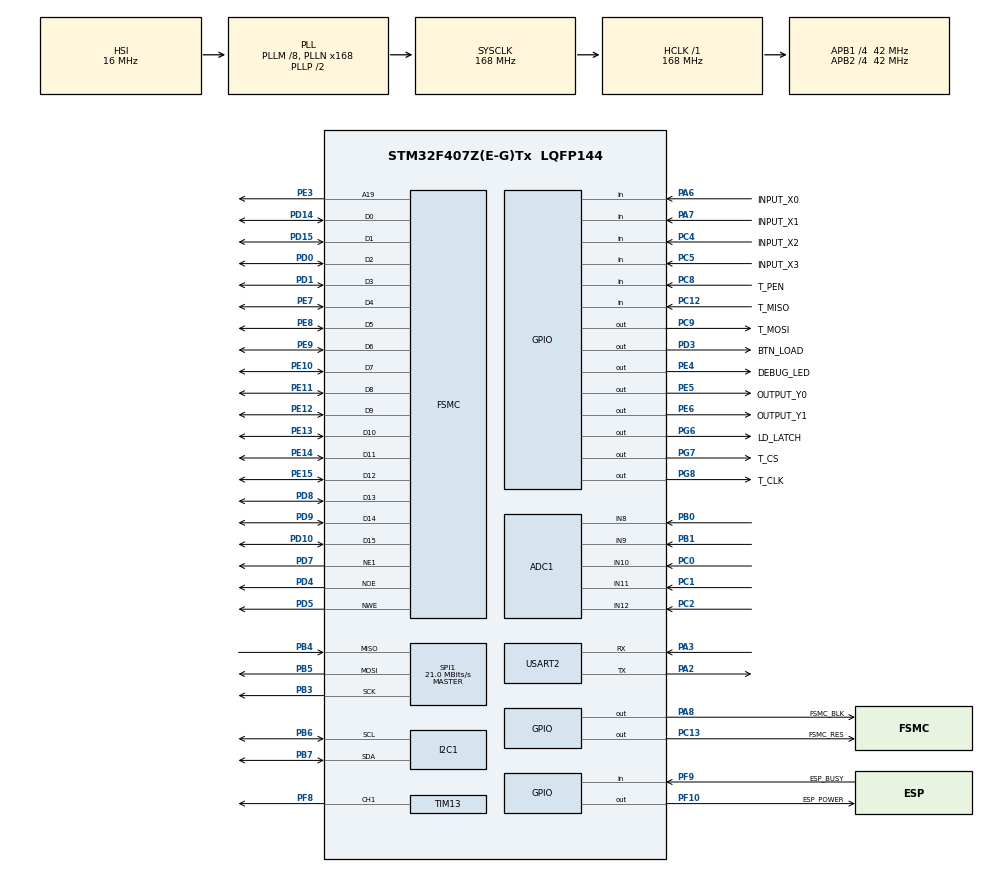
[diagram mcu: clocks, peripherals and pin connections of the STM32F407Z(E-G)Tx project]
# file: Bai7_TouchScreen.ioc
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ADC1.Channel-0\#ChannelRegularConversion=ADC_CHANNEL_8
ADC1.Channel-1\#ChannelRegularConversion=ADC_CHANNEL_9
ADC1.Channel-2\#ChannelRegularConversion=ADC_CHANNEL_10
ADC1.Channel-3\#ChannelRegularConversion=ADC_CHANNEL_11
ADC1.Channel-4\#ChannelRegularConversion=ADC_CHANNEL_12
ADC1.NbrOfConversion=5
ADC1.NbrOfConversionFlag=1
ADC1.Rank-0\#ChannelRegularConversion=1
ADC1.Rank-1\#ChannelRegularConversion=2
ADC1.Rank-2\#ChannelRegularConversion=3
ADC1.Rank-3\#ChannelRegularConversion=4
ADC1.Rank-4\#ChannelRegularConversion=5
ADC1.SamplingTime-0\#ChannelRegularConversion=ADC_SAMPLETIME_3CYCLES
ADC1.SamplingTime-1\#ChannelRegularConversion=ADC_SAMPLETIME_3CYCLES
ADC1.SamplingTime-2\#ChannelRegularConversion=ADC_SAMPLETIME_3CYCLES
ADC1.SamplingTime-3\#ChannelRegularConversion=ADC_SAMPLETIME_3CYCLES
ADC1.SamplingTime-4\#ChannelRegularConversion=ADC_SAMPLETIME_3CYCLES
ADC1.ScanConvMode=ENABLE
ADC1.master=1
Dma.ADC1.0.Direction=DMA_PERIPH_TO_MEMORY
Dma.ADC1.0.FIFOMode=DMA_FIFOMODE_DISABLE
Dma.ADC1.0.Instance=DMA2_Stream0
Dma.ADC1.0.MemDataAlignment=DMA_MDATAALIGN_HALFWORD
Dma.ADC1.0.MemInc=DMA_MINC_ENABLE
Dma.ADC1.0.Mode=DMA_CIRCULAR
Dma.ADC1.0.PeriphDataAlignment=DMA_PDATAALIGN_HALFWORD
Dma.ADC1.0.PeriphInc=DMA_PINC_DISABLE
Dma.ADC1.0.Priority=DMA_PRIORITY_LOW
Dma.Request0=ADC1
FSMC.AddressSetupTime1=0xf
FSMC.BusTurnAroundDuration1=0
FSMC.DataSetupTime1=60
FSMC.ExtendedAddressSetupTime1=8
FSMC.ExtendedBusTurnAroundDuration1=0
FSMC.ExtendedDataSetupTime1=9
FSMC.ExtendedMode1=FSMC_EXTENDED_MODE_ENABLE
I2C1.I2C_Mode=I2C_Standard
Mcu.Family=STM32F4
Mcu.Name=STM32F407Z(E-G)Tx
Mcu.Package=LQFP144
NVIC.DMA2_Stream0_IRQn=true\:0\:0\:false\:false\:true\:false\:true\:true
NVIC.PriorityGroup=NVIC_PRIORITYGROUP_4
NVIC.TIM2_IRQn=true\:0\:0\:false\:false\:true\:true\:true\:true
NVIC.USART2_IRQn=true\:0\:0\:false\:false\:true\:true\:true\:true
PA13.Mode=Serial_Wire
PA13.Signal=SYS_JTMS-SWDIO
PA14.Mode=Serial_Wire
PA14.Signal=SYS_JTCK-SWCLK
PA2.Mode=Asynchronous
PA2.Signal=USART2_TX
PA3.Mode=Asynchronous
PA3.Signal=USART2_RX
PA6.GPIO_Label=INPUT_X0
PA6.Signal=GPIO_Input
PA7.GPIO_Label=INPUT_X1
PA7.Signal=GPIO_Input
PA8.GPIO_Label=FSMC_BLK
PA8.Signal=GPIO_Output
PB0.Signal=ADCx_IN8
PB1.Signal=ADCx_IN9
PB3.Mode=Full_Duplex_Master
PB3.Signal=SPI1_SCK
PB4.Mode=Full_Duplex_Master
PB4.Signal=SPI1_MISO
PB5.Mode=Full_Duplex_Master
PB5.Signal=SPI1_MOSI
PB6.Mode=I2C
PB6.Signal=I2C1_SCL
PB7.Mode=I2C
PB7.Signal=I2C1_SDA
PC0.Signal=ADCx_IN10
PC1.Signal=ADCx_IN11
PC12.GPIO_Label=T_MISO
PC12.GPIO_PuPd=GPIO_PULLUP
PC12.Signal=GPIO_Input
PC13-ANTI_TAMP.GPIO_Label=FSMC_RES
PC13-ANTI_TAMP.Signal=GPIO_Output
PC2.Signal=ADCx_IN12
PC4.GPIO_Label=INPUT_X2
PC4.Signal=GPIO_Input
PC5.GPIO_Label=INPUT_X3
PC5.Signal=GPIO_Input
PC8.GPIO_Label=T_PEN
PC8.GPIO_PuPd=GPIO_PULLUP
PC8.Signal=GPIO_Input
PC9.GPIO_Label=T_MOSI
PC9.Signal=GPIO_Output
PD0.Signal=FSMC_D2_DA2
PD1.Signal=FSMC_D3_DA3
PD10.Signal=FSMC_D15_DA15
PD14.Signal=FSMC_D0_DA0
PD15.Signal=FSMC_D1_DA1
PD3.GPIO_Label=BTN_LOAD
PD3.Signal=GPIO_Output
PD4.Signal=FSMC_NOE
PD5.Signal=FSMC_NWE
PD7.Mode=NorPsramChipSelect1_1
PD7.Signal=FSMC_NE1
PD8.Signal=FSMC_D13_DA13
PD9.Signal=FSMC_D14_DA14
PE10.Signal=FSMC_D7_DA7
PE11.Signal=FSMC_D8_DA8
PE12.Signal=FSMC_D9_DA9
PE13.Signal=FSMC_D10_DA10
PE14.Signal=FSMC_D11_DA11
PE15.Signal=FSMC_D12_DA12
PE3.Signal=FSMC_A19
PE4.GPIO_Label=DEBUG_LED
PE4.Signal=GPIO_Output
PE5.GPIO_Label=OUTPUT_Y0
PE5.Signal=GPIO_Output
PE6.GPIO_Label=OUTPUT_Y1
PE6.Signal=GPIO_Output
PE7.Signal=FSMC_D4_DA4
PE8.Signal=FSMC_D5_DA5
PE9.Signal=FSMC_D6_DA6
PF10.GPIO_Label=ESP_POWER
PF10.Signal=GPIO_Output
PF8.Signal=S_TIM13_CH1
PF9.GPIO_Label=ESP_BUSY
PF9.Signal=GPIO_Input
PG6.GPIO_Label=LD_LATCH
PG6.Signal=GPIO_Output
PG7.GPIO_Label=T_CS
PG7.Signal=GPIO_Output
PG8.GPIO_Label=T_CLK
PG8.Signal=GPIO_Output
PH0-OSC_IN.Mode=HSE-External-Oscillator
PH0-OSC_IN.Signal=RCC_OSC_IN
PH1-OSC_OUT.Mode=HSE-External-Oscillator
PH1-OSC_OUT.Signal=RCC_OSC_OUT
ProjectManager.HeapSize=0x200
ProjectManager.StackSize=0x400
ProjectManager.TargetToolchain=STM32CubeIDE
RCC.48MHZClocksFreq_Value=84000000
RCC.AHBFreq_Value=168000000
RCC.APB1CLKDivider=RCC_HCLK_DIV4
RCC.APB1Freq_Value=42000000
RCC.APB1TimFreq_Value=84000000
RCC.APB2CLKDivider=RCC_HCLK_DIV4
RCC.APB2Freq_Value=42000000
RCC.APB2TimFreq_Value=84000000
RCC.CortexFreq_Value=168000000
RCC.HCLKFreq_Value=168000000
RCC.HSE_VALUE=8000000
RCC.HSI_VALUE=16000000
RCC.LSE_VALUE=32768
RCC.PLLM=8
RCC.PLLN=168
RCC.SYSCLKFreq_VALUE=168000000
RCC.SYSCLKSource=RCC_SYSCLKSOURCE_PLLCLK
RCC.VCOOutputFreq_Value=336000000
SH.ADCx_IN10.0=ADC1_IN10,IN10
SH.ADCx_IN11.0=ADC1_IN11,IN11
SH.ADCx_IN12.0=ADC1_IN12,IN12
SH.ADCx_IN8.0=ADC1_IN8,IN8
SH.ADCx_IN9.0=ADC1_IN9,IN9
SH.FSMC_A19.0=FSMC_A19,A19_1
SH.FSMC_D0_DA0.0=FSMC_D0,16b-d1
SH.FSMC_D10_DA10.0=FSMC_D10,16b-d1
SH.FSMC_D11_DA11.0=FSMC_D11,16b-d1
SH.FSMC_D12_DA12.0=FSMC_D12,16b-d1
SH.FSMC_D13_DA13.0=FSMC_D13,16b-d1
SH.FSMC_D14_DA14.0=FSMC_D14,16b-d1
SH.FSMC_D15_DA15.0=FSMC_D15,16b-d1
SH.FSMC_D1_DA1.0=FSMC_D1,16b-d1
SH.FSMC_D2_DA2.0=FSMC_D2,16b-d1
SH.FSMC_D3_DA3.0=FSMC_D3,16b-d1
SH.FSMC_D4_DA4.0=FSMC_D4,16b-d1
SH.FSMC_D5_DA5.0=FSMC_D5,16b-d1
SH.FSMC_D6_DA6.0=FSMC_D6,16b-d1
SH.FSMC_D7_DA7.0=FSMC_D7,16b-d1
SH.FSMC_D8_DA8.0=FSMC_D8,16b-d1
SH.FSMC_D9_DA9.0=FSMC_D9,16b-d1
SH.FSMC_NOE.0=FSMC_NOE,Lcd1
SH.FSMC_NWE.0=FSMC_NWE,Lcd1
SH.S_TIM13_CH1.0=TIM13_CH1,PWM Generation1 CH1
SPI1.BaudRatePrescaler=SPI_BAUDRATEPRESCALER_2
SPI1.CalculateBaudRate=21.0 MBits/s
SPI1.Direction=SPI_DIRECTION_2LINES
SPI1.Mode=SPI_MODE_MASTER
SPI1.VirtualType=VM_MASTER
TIM1.Prescaler=84-1
TIM13.Channel=TIM_CHANNEL_1
TIM13.Period=100-1
TIM13.Prescaler=840-1
TIM2.Period=100-1
TIM2.Prescaler=840-1
USART2.VirtualMode=VM_ASYNC
VP_TIM13_VS_ClockSourceINT.Mode=Enable_Timer
VP_TIM1_VS_ClockSourceINT.Mode=Internal
VP_TIM2_VS_ClockSourceINT.Mode=Internal
board=custom

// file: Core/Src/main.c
/* USER CODE BEGIN Header */
/**
  ******************************************************************************
  * @file           : main.c
  * @brief          : Main program body
  ******************************************************************************
  * @attention
  *
  * <h2><center>&copy; Copyright (c) 2023 STMicroelectronics.
  * All rights reserved.</center></h2>
  *
  * This software component is licensed by ST under BSD 3-Clause license,
  * the "License"; You may not use this file except in compliance with the
  * License. You may obtain a copy of the License at:
  *                        opensource.org/licenses/BSD-3-Clause
  *
  ******************************************************************************
  */
/* USER CODE END Header */
#include "main.h"
#include "adc.h"
#include "dma.h"
#include "i2c.h"
#include "spi.h"
#include "tim.h"
#include "usart.h"
#include "gpio.h"
#include "fsmc.h"

/* USER CODE BEGIN Includes */
#include "software_timer.h"
#include "led_7seg.h"
#include "button.h"
#include "lcd.h"
#include "picture.h"
#include "ds3231.h"
#include "sensor.h"
#include "buzzer.h"
#include "touch.h"
#include "snake_game.h"

#include <stdio.h> // Để dùng hàm sprintf
#include <string.h> // Để dùng hàm strlen
/* USER CODE END Includes */

/* USER CODE BEGIN PV */
//#define INIT 0
//#define DRAW 1
//#define CLEAR 2
//
//int draw_Status = INIT;
/* USER CODE END PV */

void SystemClock_Config(void);
/* USER CODE BEGIN PFP */
void system_init();
void test_LedDebug();
//void touchProcess();
//uint8_t isButtonClear();
/* USER CODE END PFP */

int main(void)
{

  /* MCU Configuration--------------------------------------------------------*/

  /* Reset of all peripherals, Initializes the Flash interface and the Systick. */
  HAL_Init();

  /* Configure the system clock */
  SystemClock_Config();

  /* Initialize all configured peripherals */
  MX_GPIO_Init();
  MX_DMA_Init();
  MX_TIM2_Init();
  MX_SPI1_Init();
  MX_FSMC_Init();
  MX_I2C1_Init();
  MX_TIM13_Init();
  MX_ADC1_Init();
  MX_TIM1_Init();
  MX_USART2_UART_Init();
  /* USER CODE BEGIN 2 */
  system_init();
  /* USER CODE END 2 */

  /* Infinite loop */
  /* USER CODE BEGIN WHILE */
// touch_Adjust();
// lcd_Clear(BLACK);
// Snake_Init_Game();
 int timer_temp_counter = 0; // Biến đếm thời gian
 while (1)
  {
//	 Snake_Main_Loop();

//	  //scan touch screen
//	  touch_Scan();
//	  //check if touch screen is touched
//	  if(touch_IsTouched() && draw_Status == DRAW){
//            //draw a point at the touch position
//		  lcd_DrawPoint(touch_GetX(), touch_GetY(), RED);
//	  }
//	  // 50ms task
//	  if(flag_timer2 == 1){
//		  flag_timer2 = 0;
//		  touchProcess();
//		  test_LedDebug();
//	  }

	 //c8
	 // Giả sử timer ngắt mỗi 50ms (như thiết lập setTimer2(50) trong tài liệu [cite: 2676])
	 if (flag_timer2 == 1) {
	     flag_timer2 = 0;

	     // Các hàm xử lý khác...
	     button_Scan();
	     test_Esp();
	     lightProcess();

	     // --- ĐOẠN CODE XỬ LÝ NHIỆT ĐỘ ---
	     timer_temp_counter++;

	     // 50ms * 100 = 10000ms = 10s
	     if (timer_temp_counter >= 100) {
	         timer_temp_counter = 0;

	         sensor_Read();
	         // 1. Đọc giá trị nhiệt độ
	         float temp_val = sensor_GetTemperature();

	         // 2. Tạo chuỗi dữ liệu theo format "!TEMP:<giá trị>#"
	         char buffer[50];
	         // %.2f nghĩa là lấy 2 số sau dấu phẩy
	         sprintf(buffer, "!TEMP:%.2f#", temp_val);

	         // 3. Gửi chuỗi qua UART sang ESP8266
	         uart_EspSendBytes((uint8_t*)buffer, strlen(buffer)); // [cite: 2484]
	     }
	     // --------------------------------
	 }

    /* USER CODE END WHILE */

  }
}

void SystemClock_Config(void)
{
  RCC_OscInitTypeDef RCC_OscInitStruct = {0};
  RCC_ClkInitTypeDef RCC_ClkInitStruct = {0};

  /** Configure the main internal regulator output voltage
  */
  __HAL_RCC_PWR_CLK_ENABLE();
  __HAL_PWR_VOLTAGESCALING_CONFIG(PWR_REGULATOR_VOLTAGE_SCALE1);
  /** Initializes the RCC Oscillators according to the specified parameters
  * in the RCC_OscInitTypeDef structure.
  */
  RCC_OscInitStruct.OscillatorType = RCC_OSCILLATORTYPE_HSI;
  RCC_OscInitStruct.HSIState = RCC_HSI_ON;
  RCC_OscInitStruct.HSICalibrationValue = RCC_HSICALIBRATION_DEFAULT;
  RCC_OscInitStruct.PLL.PLLState = RCC_PLL_ON;
  RCC_OscInitStruct.PLL.PLLSource = RCC_PLLSOURCE_HSI;
  RCC_OscInitStruct.PLL.PLLM = 8;
  RCC_OscInitStruct.PLL.PLLN = 168;
  RCC_OscInitStruct.PLL.PLLP = RCC_PLLP_DIV2;
  RCC_OscInitStruct.PLL.PLLQ = 4;
  if (HAL_RCC_OscConfig(&RCC_OscInitStruct) != HAL_OK)
  {
    Error_Handler();
  }
  /** Initializes the CPU, AHB and APB buses clocks
  */
  RCC_ClkInitStruct.ClockType = RCC_CLOCKTYPE_HCLK|RCC_CLOCKTYPE_SYSCLK
                              |RCC_CLOCKTYPE_PCLK1|RCC_CLOCKTYPE_PCLK2;
  RCC_ClkInitStruct.SYSCLKSource = RCC_SYSCLKSOURCE_PLLCLK;
  RCC_ClkInitStruct.AHBCLKDivider = RCC_SYSCLK_DIV1;
  RCC_ClkInitStruct.APB1CLKDivider = RCC_HCLK_DIV4;
  RCC_ClkInitStruct.APB2CLKDivider = RCC_HCLK_DIV4;

  if (HAL_RCC_ClockConfig(&RCC_ClkInitStruct, FLASH_LATENCY_5) != HAL_OK)
  {
    Error_Handler();
  }
}

/* USER CODE BEGIN 4 */
void system_init(){
	  timer_init();
	  button_init();
	  lcd_init();
	  touch_init();
	  uart_init_esp();
	  setTimer2(50);
	  sensor_init();
}

uint8_t count_led_debug = 0;

void test_LedDebug(){
	count_led_debug = (count_led_debug + 1)%20;
	if(count_led_debug == 0){
		HAL_GPIO_TogglePin(DEBUG_LED_GPIO_Port, DEBUG_LED_Pin);
	}
}

//uint8_t isButtonClear(){
//	if(!touch_IsTouched()) return 0;
//	return touch_GetX() > 60 && touch_GetX() < 180 && touch_GetY() > 10 && touch_GetY() < 60;
//}

//void touchProcess(){
//	switch (draw_Status) {
//		case INIT:
//                // display blue button
//			lcd_Fill(60, 10, 180, 60, GBLUE);
//			lcd_ShowStr(90, 20, "CLEAR", RED, BLACK, 24, 1);
//			draw_Status = DRAW;
//			break;
//		case DRAW:
//			if(isButtonClear()){
//				draw_Status = CLEAR;
//                    // clear board
//				lcd_Fill(0, 60, 240, 320, BLACK);
//                    // display green button
//				lcd_Fill(60, 10, 180, 60, GREEN);
//				lcd_ShowStr(90, 20, "CLEAR", RED, BLACK, 24, 1);
//			}
//			break;
//		case CLEAR:
//			if(!touch_IsTouched()) draw_Status = INIT;
//			break;
//		default:
//			break;
//	}
//}
/* USER CODE END 4 */

void Error_Handler(void)
{
  __disable_irq();
  while (1)
  {
  }
}

/************************ (C) COPYRIGHT STMicroelectronics *****END OF FILE****/
